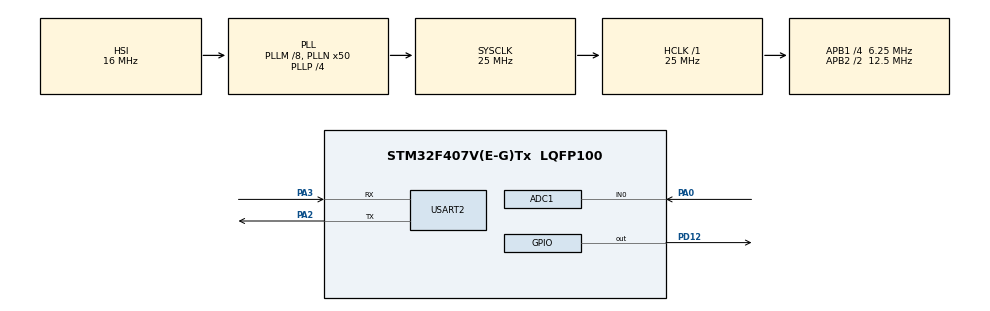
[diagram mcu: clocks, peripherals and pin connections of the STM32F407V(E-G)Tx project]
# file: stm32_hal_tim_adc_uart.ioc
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ADC1.Channel-0\#ChannelRegularConversion=ADC_CHANNEL_0
ADC1.ExternalTrigConv=ADC_EXTERNALTRIGCONV_T2_TRGO
ADC1.NbrOfConversion=1
ADC1.NbrOfConversionFlag=1
ADC1.Rank-0\#ChannelRegularConversion=1
ADC1.SamplingTime-0\#ChannelRegularConversion=ADC_SAMPLETIME_3CYCLES
ADC1.master=1
Mcu.Family=STM32F4
Mcu.Name=STM32F407V(E-G)Tx
Mcu.Package=LQFP100
NVIC.ADC_IRQn=true\:0\:0\:false\:false\:true\:true\:true\:true
NVIC.PriorityGroup=NVIC_PRIORITYGROUP_0
PA0-WKUP.Signal=ADCx_IN0
PA2.Mode=Asynchronous
PA2.Signal=USART2_TX
PA3.Mode=Asynchronous
PA3.Signal=USART2_RX
PD12.Signal=GPIO_Output
ProjectManager.HeapSize=0x200
ProjectManager.StackSize=0x400
ProjectManager.TargetToolchain=STM32CubeIDE
RCC.48MHZClocksFreq_Value=14285714.285714285
RCC.AHBFreq_Value=25000000
RCC.APB1CLKDivider=RCC_HCLK_DIV4
RCC.APB1Freq_Value=6250000
RCC.APB1TimFreq_Value=12500000
RCC.APB2CLKDivider=RCC_HCLK_DIV2
RCC.APB2Freq_Value=12500000
RCC.APB2TimFreq_Value=25000000
RCC.CortexFreq_Value=25000000
RCC.HCLKFreq_Value=25000000
RCC.HSE_VALUE=8000000
RCC.HSI_VALUE=16000000
RCC.LSE_VALUE=32768
RCC.PLLM=8
RCC.PLLN=50
RCC.PLLP=RCC_PLLP_DIV4
RCC.PLLQ=7
RCC.SYSCLKFreq_VALUE=25000000
RCC.SYSCLKSource=RCC_SYSCLKSOURCE_PLLCLK
RCC.VCOOutputFreq_Value=100000000
SH.ADCx_IN0.0=ADC1_IN0,IN0
TIM2.Period=999
TIM2.Prescaler=12499
TIM2.TIM_MasterOutputTrigger=TIM_TRGO_UPDATE
USART2.VirtualMode=VM_ASYNC
VP_TIM2_VS_ClockSourceINT.Mode=Internal
board=STM32F407G-DISC1

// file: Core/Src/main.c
/* USER CODE BEGIN Header */
/**
  ******************************************************************************
  * @file           : main.c
  * @brief          : Main program body
  ******************************************************************************
  * @attention
  *
  * Copyright (c) 2023 STMicroelectronics.
  * All rights reserved.
  *
  * This software is licensed under terms that can be found in the LICENSE file
  * in the root directory of this software component.
  * If no LICENSE file comes with this software, it is provided AS-IS.
  *
  ******************************************************************************
  */
/* USER CODE END Header */
#include "main.h"

/* USER CODE BEGIN Includes */
#include <stdio.h>
/* USER CODE END Includes */

ADC_HandleTypeDef hadc1;

TIM_HandleTypeDef htim2;

UART_HandleTypeDef huart2;

void SystemClock_Config(void);
static void MX_GPIO_Init(void);
static void MX_USART2_UART_Init(void);
static void MX_ADC1_Init(void);
static void MX_TIM2_Init(void);

int main(void)
{

  /* MCU Configuration--------------------------------------------------------*/

  /* Reset of all peripherals, Initializes the Flash interface and the Systick. */
  HAL_Init();

  /* Configure the system clock */
  SystemClock_Config();

  /* Initialize all configured peripherals */
  MX_GPIO_Init();
  MX_USART2_UART_Init();
  MX_ADC1_Init();
  MX_TIM2_Init();
  /* USER CODE BEGIN 2 */
  NVIC_SetPriority(PendSV_IRQn, 0xFF); // set PendSV exception priority to lowest.+
  HAL_TIM_Base_Start_IT(&htim2);
  HAL_ADC_Start_IT(&hadc1);
  /* USER CODE END 2 */

  /* Infinite loop */
  /* USER CODE BEGIN WHILE */
  while (1)
  {
	  HAL_GPIO_TogglePin(GPIOD, GPIO_PIN_12);
	  // put processor in low power state until next event occurs
    /* USER CODE END WHILE */

  }
}

void SystemClock_Config(void)
{
  RCC_OscInitTypeDef RCC_OscInitStruct = {0};
  RCC_ClkInitTypeDef RCC_ClkInitStruct = {0};

  /** Configure the main internal regulator output voltage
  */
  __HAL_RCC_PWR_CLK_ENABLE();
  __HAL_PWR_VOLTAGESCALING_CONFIG(PWR_REGULATOR_VOLTAGE_SCALE1);

  /** Initializes the RCC Oscillators according to the specified parameters
  * in the RCC_OscInitTypeDef structure.
  */
  RCC_OscInitStruct.OscillatorType = RCC_OSCILLATORTYPE_HSI;
  RCC_OscInitStruct.HSIState = RCC_HSI_ON;
  RCC_OscInitStruct.HSICalibrationValue = RCC_HSICALIBRATION_DEFAULT;
  RCC_OscInitStruct.PLL.PLLState = RCC_PLL_ON;
  RCC_OscInitStruct.PLL.PLLSource = RCC_PLLSOURCE_HSI;
  RCC_OscInitStruct.PLL.PLLM = 8;
  RCC_OscInitStruct.PLL.PLLN = 50;
  RCC_OscInitStruct.PLL.PLLP = RCC_PLLP_DIV4;
  RCC_OscInitStruct.PLL.PLLQ = 7;
  if (HAL_RCC_OscConfig(&RCC_OscInitStruct) != HAL_OK)
  {
    Error_Handler();
  }

  /** Initializes the CPU, AHB and APB buses clocks
  */
  RCC_ClkInitStruct.ClockType = RCC_CLOCKTYPE_HCLK|RCC_CLOCKTYPE_SYSCLK
                              |RCC_CLOCKTYPE_PCLK1|RCC_CLOCKTYPE_PCLK2;
  RCC_ClkInitStruct.SYSCLKSource = RCC_SYSCLKSOURCE_PLLCLK;
  RCC_ClkInitStruct.AHBCLKDivider = RCC_SYSCLK_DIV1;
  RCC_ClkInitStruct.APB1CLKDivider = RCC_HCLK_DIV4;
  RCC_ClkInitStruct.APB2CLKDivider = RCC_HCLK_DIV2;

  if (HAL_RCC_ClockConfig(&RCC_ClkInitStruct, FLASH_LATENCY_0) != HAL_OK)
  {
    Error_Handler();
  }
}

static void MX_ADC1_Init(void)
{

  ADC_ChannelConfTypeDef sConfig = {0};

  /** Configure the global features of the ADC (Clock, Resolution, Data Alignment and number of conversion)
  */
  hadc1.Instance = ADC1;
  hadc1.Init.ClockPrescaler = ADC_CLOCK_SYNC_PCLK_DIV2;
  hadc1.Init.Resolution = ADC_RESOLUTION_12B;
  hadc1.Init.ScanConvMode = DISABLE;
  hadc1.Init.ContinuousConvMode = DISABLE;
  hadc1.Init.DiscontinuousConvMode = DISABLE;
  hadc1.Init.ExternalTrigConvEdge = ADC_EXTERNALTRIGCONVEDGE_RISING;
  hadc1.Init.ExternalTrigConv = ADC_EXTERNALTRIGCONV_T2_TRGO;
  hadc1.Init.DataAlign = ADC_DATAALIGN_RIGHT;
  hadc1.Init.NbrOfConversion = 1;
  hadc1.Init.DMAContinuousRequests = DISABLE;
  hadc1.Init.EOCSelection = ADC_EOC_SINGLE_CONV;
  if (HAL_ADC_Init(&hadc1) != HAL_OK)
  {
    Error_Handler();
  }

  /** Configure for the selected ADC regular channel its corresponding rank in the sequencer and its sample time.
  */
  sConfig.Channel = ADC_CHANNEL_0;
  sConfig.Rank = 1;
  sConfig.SamplingTime = ADC_SAMPLETIME_3CYCLES;
  if (HAL_ADC_ConfigChannel(&hadc1, &sConfig) != HAL_OK)
  {
    Error_Handler();
  }

}

static void MX_TIM2_Init(void)
{

  TIM_ClockConfigTypeDef sClockSourceConfig = {0};
  TIM_MasterConfigTypeDef sMasterConfig = {0};

  htim2.Instance = TIM2;
  htim2.Init.Prescaler = 12499;
  htim2.Init.CounterMode = TIM_COUNTERMODE_UP;
  htim2.Init.Period = 999;
  htim2.Init.ClockDivision = TIM_CLOCKDIVISION_DIV1;
  htim2.Init.AutoReloadPreload = TIM_AUTORELOAD_PRELOAD_DISABLE;
  if (HAL_TIM_Base_Init(&htim2) != HAL_OK)
  {
    Error_Handler();
  }
  sClockSourceConfig.ClockSource = TIM_CLOCKSOURCE_INTERNAL;
  if (HAL_TIM_ConfigClockSource(&htim2, &sClockSourceConfig) != HAL_OK)
  {
    Error_Handler();
  }
  sMasterConfig.MasterOutputTrigger = TIM_TRGO_UPDATE;
  sMasterConfig.MasterSlaveMode = TIM_MASTERSLAVEMODE_DISABLE;
  if (HAL_TIMEx_MasterConfigSynchronization(&htim2, &sMasterConfig) != HAL_OK)
  {
    Error_Handler();
  }

}

static void MX_USART2_UART_Init(void)
{

  huart2.Instance = USART2;
  huart2.Init.BaudRate = 115200;
  huart2.Init.WordLength = UART_WORDLENGTH_8B;
  huart2.Init.StopBits = UART_STOPBITS_1;
  huart2.Init.Parity = UART_PARITY_NONE;
  huart2.Init.Mode = UART_MODE_TX_RX;
  huart2.Init.HwFlowCtl = UART_HWCONTROL_NONE;
  huart2.Init.OverSampling = UART_OVERSAMPLING_16;
  if (HAL_UART_Init(&huart2) != HAL_OK)
  {
    Error_Handler();
  }

}

static void MX_GPIO_Init(void)
{
  GPIO_InitTypeDef GPIO_InitStruct = {0};

  /* GPIO Ports Clock Enable */
  __HAL_RCC_GPIOA_CLK_ENABLE();
  __HAL_RCC_GPIOD_CLK_ENABLE();

  /*Configure GPIO pin Output Level */
  HAL_GPIO_WritePin(GPIOD, GPIO_PIN_12, GPIO_PIN_RESET);

  /*Configure GPIO pin : PD12 */
  GPIO_InitStruct.Pin = GPIO_PIN_12;
  GPIO_InitStruct.Mode = GPIO_MODE_OUTPUT_PP;
  GPIO_InitStruct.Pull = GPIO_NOPULL;
  GPIO_InitStruct.Speed = GPIO_SPEED_FREQ_LOW;
  HAL_GPIO_Init(GPIOD, &GPIO_InitStruct);

}

/* USER CODE BEGIN 4 */
void HAL_ADC_ConvCpltBottomHalf(void);
char str[32];
uint32_t adcVal;

void HAL_ADC_ConvCpltCallback(ADC_HandleTypeDef* hadc) {
	adcVal = HAL_ADC_GetValue(&hadc1); // non-blocking code
	SCB->ICSR |= SCB_ICSR_PENDSTSET_Msk; // trigger bottom half execution --via PendSV
}

void PendSV_Handler(void) {
	HAL_ADC_ConvCpltBottomHalf();
}

void HAL_ADC_ConvCpltBottomHalf(void) {
	// blocking code -- deferred execution
	uint32_t count = sprintf(str, "ADC=%ld\r\n", adcVal);
	HAL_UART_Transmit(&huart2, (uint8_t*)str, count, HAL_MAX_DELAY);
}

/* USER CODE END 4 */

void Error_Handler(void)
{
  __disable_irq();
  while (1)
  {
  }
}
